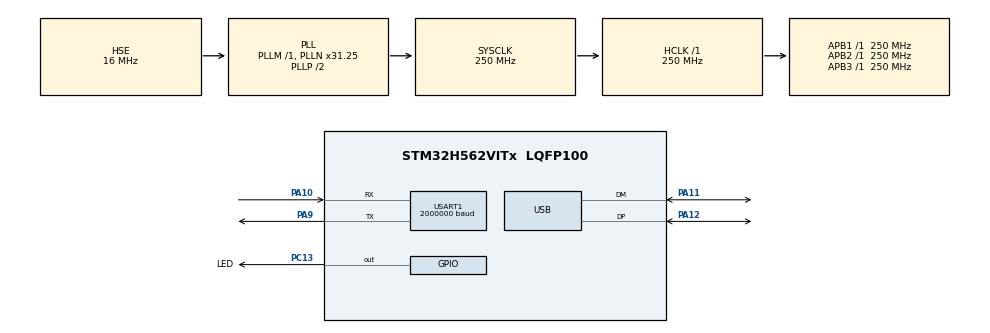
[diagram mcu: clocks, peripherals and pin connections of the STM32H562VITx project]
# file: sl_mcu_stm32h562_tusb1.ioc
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BOOTPATH.BootPathName=LEGACY
BOOTPATH.UserSelectedBootPath=LEGACY
CORTEX_M33_NS.userName=CORTEX_M33
Mcu.Family=STM32H5
Mcu.Name=STM32H562VITx
Mcu.Package=LQFP100
NVIC.PriorityGroup=NVIC_PRIORITYGROUP_4
NVIC.USB_DRD_FS_IRQn=true\:0\:0\:false\:false\:true\:true\:true\:true
PA10.Mode=Asynchronous
PA10.Signal=USART1_RX
PA11.Mode=Host
PA11.Signal=USB_DM
PA12.Mode=Host
PA12.Signal=USB_DP
PA13(JTMS/SWDIO).Mode=Trace_Asynchronous_SW
PA13(JTMS/SWDIO).Signal=DEBUG_JTMS-SWDIO
PA14(JTCK/SWCLK).Mode=Trace_Asynchronous_SW
PA14(JTCK/SWCLK).Signal=DEBUG_JTCK-SWCLK
PA9.Mode=Asynchronous
PA9.Signal=USART1_TX
PB3(JTDO/TRACESWO).Mode=Trace_Asynchronous_SW
PB3(JTDO/TRACESWO).Signal=DEBUG_JTDO-SWO
PC13.GPIO_Label=LED
PC13.GPIO_ModeDefaultOutputPP=GPIO_MODE_OUTPUT_OD
PC13.GPIO_PuPd=GPIO_NOPULL
PC13.PinState=GPIO_PIN_SET
PC13.Signal=GPIO_Output
PH0-OSC_IN(PH0).Mode=HSE-External-Oscillator
PH0-OSC_IN(PH0).Signal=RCC_OSC_IN
PH1-OSC_OUT(PH1).Mode=HSE-External-Oscillator
PH1-OSC_OUT(PH1).Signal=RCC_OSC_OUT
ProjectManager.HeapSize=0x200
ProjectManager.StackSize=0x400
ProjectManager.TargetToolchain=STM32CubeIDE
RCC.ADCFreq_Value=250000000
RCC.AHBFreq_Value=250000000
RCC.APB1Freq_Value=250000000
RCC.APB1TimFreq_Value=250000000
RCC.APB2Freq_Value=250000000
RCC.APB2TimFreq_Value=250000000
RCC.APB3Freq_Value=250000000
RCC.CSI_VALUE=4000000
RCC.CortexFreq_Value=250000000
RCC.EPOD_VALUE=16000000
RCC.HCLKFreq_Value=250000000
RCC.HSE_VALUE=16000000
RCC.HSI48_VALUE=48000000
RCC.HSI_VALUE=64000000
RCC.LSE_VALUE=32768
RCC.LSIRC_VALUE=32000
RCC.PLLFRACN=2048
RCC.PLLN=31
RCC.PLLSourceVirtual=RCC_PLL1_SOURCE_HSE
RCC.SYSCLKFreq_VALUE=250000000
RCC.SYSCLKSource=RCC_SYSCLKSOURCE_PLLCLK
RCC.USBFreq_Value=48000000
RCC.VCOOutputFreq_Value=500000000
USART1.BaudRate=2000000
USART1.VirtualMode-Asynchronous=VM_ASYNC
USB.VirtualMode=Host_Only
VP_BOOTPATH_VS_BOOTPATH.Mode=BP_Activate
VP_CORTEX_M33_NS_VS_Hclk.Mode=Hclk_Mode
VP_ICACHE_VS_ICACHE.Mode=DirectMappedCache
VP_MEMORYMAP_VS_MEMORYMAP.Mode=CurAppReg
VP_PWR_VS_LPOM.Mode=PowerOptimisation
VP_PWR_VS_SECSignals.Mode=Security/Privilege
board=custom

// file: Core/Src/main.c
/* USER CODE BEGIN Header */
/**
 ******************************************************************************
 * @file           : main.c
 * @brief          : Main program body
 ******************************************************************************
 * @attention
 *
 * Copyright (c) 2026 STM32World <lth@stm32world.com>
 * All rights reserved.
 *
 * This software is licensed under terms that can be found in the LICENSE file
 * in the root directory of this software component.
 * If no LICENSE file comes with this software, it is provided AS-IS.
 *
 ******************************************************************************
 */
/* USER CODE END Header */
#include "main.h"

/* USER CODE BEGIN Includes */
#include <stdlib.h>
#include <stdio.h>
#include "tusb.h"
/* USER CODE END Includes */

UART_HandleTypeDef huart1;

HCD_HandleTypeDef hhcd_USB_DRD_FS;

void SystemClock_Config(void);
static void MX_GPIO_Init(void);
static void MX_USART1_UART_Init(void);
static void MX_ICACHE_Init(void);
static void MX_USB_HCD_Init(void);

/* USER CODE BEGIN 0 */

// Send printf to uart1
int __io_putchar(int ch) {
    if (ch == '\n') {
        if (HAL_UART_Transmit(&huart1, (uint8_t*) "\r", 1, HAL_MAX_DELAY) != HAL_OK) {
            return -1;
        }
    }
    if (HAL_UART_Transmit(&huart1, (uint8_t*) &ch, 1, HAL_MAX_DELAY) != HAL_OK) {
        return -1;
    }
    return ch;
}

/* USER CODE END 0 */

int main(void)
{

    /* MCU Configuration--------------------------------------------------------*/

    /* Reset of all peripherals, Initializes the Flash interface and the Systick. */
    HAL_Init();

    /* Configure the system clock */
    SystemClock_Config();

    /* Initialize all configured peripherals */
    MX_GPIO_Init();
    MX_USART1_UART_Init();
    MX_ICACHE_Init();
    MX_USB_HCD_Init();
    /* USER CODE BEGIN 2 */

    // Create a TinyUSB handler
    tusb_rhport_init_t dev_init = {
            .role = TUSB_ROLE_DEVICE,
            .speed = TUSB_SPEED_FULL
    };

    // Initialize TinyUSB
    tusb_init(0, &dev_init);

    printf("\n\n\nStarting\n");

    /* USER CODE END 2 */

    /* Infinite loop */
    /* USER CODE BEGIN WHILE */

    uint32_t now, loop_cnt = 0, next_blink = 500, next_tick = 1000;

    char rxBuf[16];

    while (1) {

        now = uwTick;

        if (now >= next_blink) {
            HAL_GPIO_TogglePin(LED_GPIO_Port, LED_Pin);
            next_blink = now + 500;
        }

        if (now >= next_tick) {
            printf("Tick %lu (loop = %lu)\n", now / 1000, loop_cnt);
            loop_cnt = 0;
            next_tick = now + 1000;
        }

        if (!(loop_cnt % 100)) { // only once per 100 loops

            // Call the TinyUSB task - as often as possible
            tud_task();

            // Echo everything received straight back out
            if (tud_cdc_n_available(0)) {
                uint32_t rxCnt = tud_cdc_n_read(0, rxBuf, sizeof(rxBuf));

                for (int rxIdx = 0; rxIdx < rxCnt; ++rxIdx) {
                    tud_cdc_n_write_char(0, rxBuf[rxIdx]);
                }

                tud_cdc_n_write_flush(0);
            }

        }

        ++loop_cnt;

        /* USER CODE END WHILE */

    }
}

void SystemClock_Config(void)
{
    RCC_OscInitTypeDef RCC_OscInitStruct = { 0 };
    RCC_ClkInitTypeDef RCC_ClkInitStruct = { 0 };

    /** Configure the main internal regulator output voltage
     */
    __HAL_PWR_VOLTAGESCALING_CONFIG(PWR_REGULATOR_VOLTAGE_SCALE0);

    while (!__HAL_PWR_GET_FLAG(PWR_FLAG_VOSRDY)) {
    }

    /** Initializes the RCC Oscillators according to the specified parameters
     * in the RCC_OscInitTypeDef structure.
     */
    RCC_OscInitStruct.OscillatorType = RCC_OSCILLATORTYPE_HSI48 | RCC_OSCILLATORTYPE_HSE;
    RCC_OscInitStruct.HSEState = RCC_HSE_ON;
    RCC_OscInitStruct.HSI48State = RCC_HSI48_ON;
    RCC_OscInitStruct.PLL.PLLState = RCC_PLL_ON;
    RCC_OscInitStruct.PLL.PLLSource = RCC_PLL1_SOURCE_HSE;
    RCC_OscInitStruct.PLL.PLLM = 1;
    RCC_OscInitStruct.PLL.PLLN = 31;
    RCC_OscInitStruct.PLL.PLLP = 2;
    RCC_OscInitStruct.PLL.PLLQ = 2;
    RCC_OscInitStruct.PLL.PLLR = 2;
    RCC_OscInitStruct.PLL.PLLRGE = RCC_PLL1_VCIRANGE_3;
    RCC_OscInitStruct.PLL.PLLVCOSEL = RCC_PLL1_VCORANGE_WIDE;
    RCC_OscInitStruct.PLL.PLLFRACN = 2048;
    if (HAL_RCC_OscConfig(&RCC_OscInitStruct) != HAL_OK)
            {
        Error_Handler();
    }

    /** Initializes the CPU, AHB and APB buses clocks
     */
    RCC_ClkInitStruct.ClockType = RCC_CLOCKTYPE_HCLK | RCC_CLOCKTYPE_SYSCLK
            | RCC_CLOCKTYPE_PCLK1 | RCC_CLOCKTYPE_PCLK2
            | RCC_CLOCKTYPE_PCLK3;
    RCC_ClkInitStruct.SYSCLKSource = RCC_SYSCLKSOURCE_PLLCLK;
    RCC_ClkInitStruct.AHBCLKDivider = RCC_SYSCLK_DIV1;
    RCC_ClkInitStruct.APB1CLKDivider = RCC_HCLK_DIV1;
    RCC_ClkInitStruct.APB2CLKDivider = RCC_HCLK_DIV1;
    RCC_ClkInitStruct.APB3CLKDivider = RCC_HCLK_DIV1;

    if (HAL_RCC_ClockConfig(&RCC_ClkInitStruct, FLASH_LATENCY_5) != HAL_OK)
            {
        Error_Handler();
    }

    /** Configure the programming delay
     */
    __HAL_FLASH_SET_PROGRAM_DELAY(FLASH_PROGRAMMING_DELAY_2);
}

static void MX_ICACHE_Init(void)
{

    /** Enable instruction cache in 1-way (direct mapped cache)
     */
    if (HAL_ICACHE_ConfigAssociativityMode(ICACHE_1WAY) != HAL_OK)
            {
        Error_Handler();
    }
    if (HAL_ICACHE_Enable() != HAL_OK)
            {
        Error_Handler();
    }

}

static void MX_USART1_UART_Init(void)
{

    huart1.Instance = USART1;
    huart1.Init.BaudRate = 2000000;
    huart1.Init.WordLength = UART_WORDLENGTH_8B;
    huart1.Init.StopBits = UART_STOPBITS_1;
    huart1.Init.Parity = UART_PARITY_NONE;
    huart1.Init.Mode = UART_MODE_TX_RX;
    huart1.Init.HwFlowCtl = UART_HWCONTROL_NONE;
    huart1.Init.OverSampling = UART_OVERSAMPLING_16;
    huart1.Init.OneBitSampling = UART_ONE_BIT_SAMPLE_DISABLE;
    huart1.Init.ClockPrescaler = UART_PRESCALER_DIV1;
    huart1.AdvancedInit.AdvFeatureInit = UART_ADVFEATURE_NO_INIT;
    if (HAL_UART_Init(&huart1) != HAL_OK)
            {
        Error_Handler();
    }
    if (HAL_UARTEx_SetTxFifoThreshold(&huart1, UART_TXFIFO_THRESHOLD_1_8) != HAL_OK)
            {
        Error_Handler();
    }
    if (HAL_UARTEx_SetRxFifoThreshold(&huart1, UART_RXFIFO_THRESHOLD_1_8) != HAL_OK)
            {
        Error_Handler();
    }
    if (HAL_UARTEx_DisableFifoMode(&huart1) != HAL_OK)
            {
        Error_Handler();
    }

}

static void MX_USB_HCD_Init(void)
{

    hhcd_USB_DRD_FS.Instance = USB_DRD_FS;
    hhcd_USB_DRD_FS.Init.dev_endpoints = 8;
    hhcd_USB_DRD_FS.Init.Host_channels = 8;
    hhcd_USB_DRD_FS.Init.speed = USBD_FS_SPEED;
    hhcd_USB_DRD_FS.Init.phy_itface = HCD_PHY_EMBEDDED;
    hhcd_USB_DRD_FS.Init.Sof_enable = DISABLE;
    hhcd_USB_DRD_FS.Init.low_power_enable = DISABLE;
    hhcd_USB_DRD_FS.Init.vbus_sensing_enable = DISABLE;
    hhcd_USB_DRD_FS.Init.bulk_doublebuffer_enable = DISABLE;
    hhcd_USB_DRD_FS.Init.iso_singlebuffer_enable = DISABLE;
    if (HAL_HCD_Init(&hhcd_USB_DRD_FS) != HAL_OK)
            {
        Error_Handler();
    }

}

static void MX_GPIO_Init(void)
{
    GPIO_InitTypeDef GPIO_InitStruct = { 0 };

    /* GPIO Ports Clock Enable */
    __HAL_RCC_GPIOC_CLK_ENABLE();
    __HAL_RCC_GPIOH_CLK_ENABLE();
    __HAL_RCC_GPIOA_CLK_ENABLE();
    __HAL_RCC_GPIOB_CLK_ENABLE();

    /*Configure GPIO pin Output Level */
    HAL_GPIO_WritePin(LED_GPIO_Port, LED_Pin, GPIO_PIN_SET);

    /*Configure GPIO pin : LED_Pin */
    GPIO_InitStruct.Pin = LED_Pin;
    GPIO_InitStruct.Mode = GPIO_MODE_OUTPUT_OD;
    GPIO_InitStruct.Pull = GPIO_NOPULL;
    GPIO_InitStruct.Speed = GPIO_SPEED_FREQ_LOW;
    HAL_GPIO_Init(LED_GPIO_Port, &GPIO_InitStruct);

}

void Error_Handler(void)
{
    __disable_irq();
    while (1)
    {
    }
}
